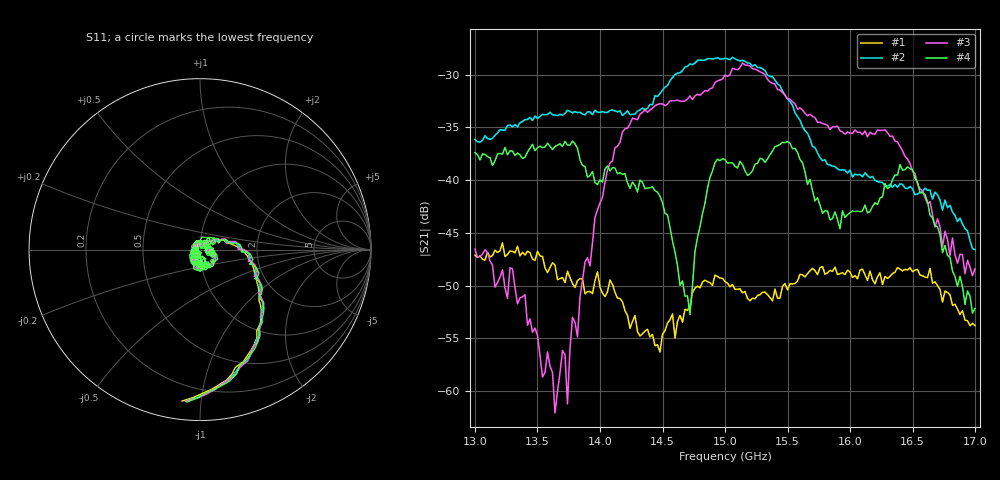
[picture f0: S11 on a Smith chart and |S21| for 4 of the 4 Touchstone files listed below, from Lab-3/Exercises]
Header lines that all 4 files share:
!Keysight Technologies,P9374A,MY57211810,A.19.30.04
!Correction: S11(Cdelta 2-Port  )
!S21(Cdelta 2-Port  )
!S12(Cdelta 2-Port  )
!S22(Cdelta 2-Port  )
!S2P File: Measurements: S11, S21, S12, S22:
# Hz S  dB  R 50
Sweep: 13 GHz to 17 GHz
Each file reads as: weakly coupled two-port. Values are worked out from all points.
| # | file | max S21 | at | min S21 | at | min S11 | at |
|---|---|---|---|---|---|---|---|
| 1 | Patch1.s2p | -45.94 dB | 13.22 GHz | -56.3 dB | 14.48 GHz | -33.1 dB | 15.64 GHz |
| 2 | Patch2.s2p | -28.35 dB | 15.06 GHz | -46.6 dB | 17 GHz | -33.0 dB | 13.98 GHz |
| 3 | Patch4.s2p | -28.89 dB | 15.14 GHz | -62.1 dB | 13.64 GHz | -39.4 dB | 13.66 GHz |
| 4 | Patch8.s2p | -36.30 dB | 13.78 GHz | -52.7 dB | 14.72 GHz | -40.9 dB | 14 GHz |
